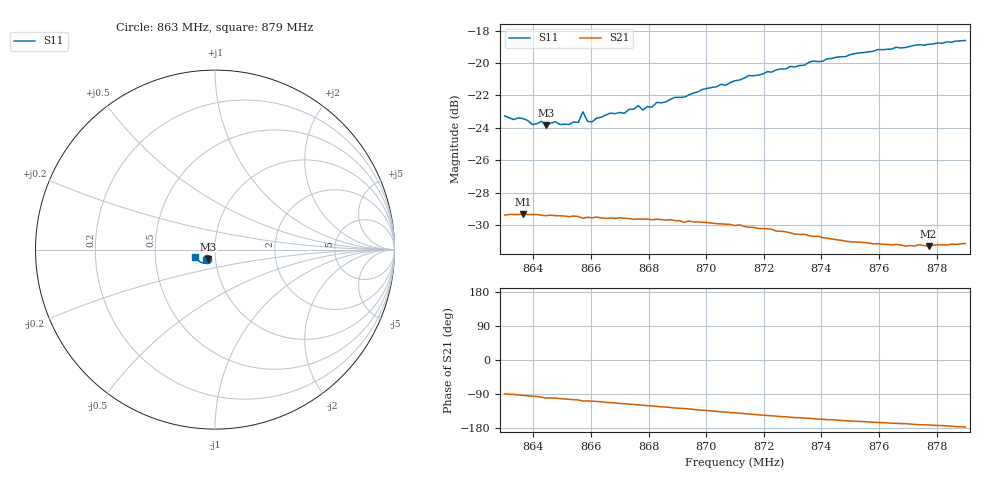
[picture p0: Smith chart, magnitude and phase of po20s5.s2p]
# HZ S RI R 50
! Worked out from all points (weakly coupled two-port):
!   101 points, 863 MHz to 879 MHz, reference 50 ohm
!   highest |S21| = -29.30 dB at 863.64 MHz (marker M1); lowest = -31.3 dB at 877.72 MHz (marker M2)
!   lowest |S11| = -23.8 dB at 864.44 MHz (marker M3), VSWR 1.14, Z = 46.2 - j4.86 ohm
!   |S11| at or under -10 dB: start of sweep to end of sweep
!   S12 and S22 are empty: the file has one direction only
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8.63e8  -0.0433 -0.0534  0.0005 -0.034  0 0  0 0
8.6332e8  -0.0416 -0.0524  -0.000587 -0.0341  0 0  0 0
8.6364e8  -0.0415 -0.0531  -0.00204 -0.0342  0 0  0 0
8.6396e8  -0.0385 -0.0519  -0.00334 -0.034  0 0  0 0
8.6428e8  -0.0375 -0.0545  -0.00454 -0.0336  0 0  0 0
8.6444e8  -0.0371 -0.0524  -0.0063 -0.0332  0 0  0 0
8.6476e8  -0.037 -0.0545  -0.00621 -0.0333  0 0  0 0
8.6492e8  -0.0361 -0.0536  -0.00691 -0.0331  0 0  0 0
8.6556e8  -0.0347 -0.0557  -0.00898 -0.0324  0 0  0 0
8.6572e8  -0.0392 -0.0589  -0.0105 -0.0315  0 0  0 0
8.6588e8  -0.0341 -0.0566  -0.0103 -0.0318  0 0  0 0
8.6604e8  -0.0325 -0.0573  -0.0107 -0.0316  0 0  0 0
8.6668e8  -0.0341 -0.0612  -0.0128 -0.0308  0 0  0 0
8.6716e8  -0.0335 -0.0614  -0.0142 -0.03  0 0  0 0
8.6764e8  -0.0362 -0.0644  -0.0158 -0.029  0 0  0 0
8.678e8  -0.0346 -0.0626  -0.0161 -0.0288  0 0  0 0
8.6844e8  -0.036 -0.0663  -0.0182 -0.0275  0 0  0 0
8.71e8  -0.0487 -0.0735  -0.0239 -0.0206  0 0  0 0
8.7372e8  -0.0685 -0.0747  -0.0264 -0.0124  0 0  0 0
8.7644e8  -0.0916 -0.0616  -0.0268 -0.00616  0 0  0 0
8.7772e8  -0.1012 -0.0528  -0.0269 -0.0041  0 0  0 0
8.79e8  -0.1108 -0.0386  -0.0277 -0.0016  0 0  0 0
